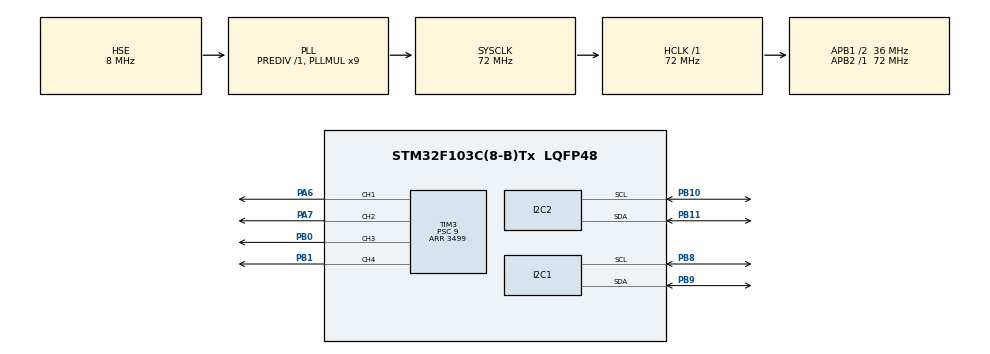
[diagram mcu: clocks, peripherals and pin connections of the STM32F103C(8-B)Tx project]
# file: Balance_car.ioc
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I2C1.I2C_Mode=I2C_Fast
I2C2.I2C_Mode=I2C_Fast
Mcu.Family=STM32F1
Mcu.Name=STM32F103C(8-B)Tx
Mcu.Package=LQFP48
NVIC.PriorityGroup=NVIC_PRIORITYGROUP_4
NVIC.TIM2_IRQn=true\:1\:0\:true\:false\:true\:true\:true\:true
PA13.Mode=Serial_Wire
PA13.Signal=SYS_JTMS-SWDIO
PA14.Mode=Serial_Wire
PA14.Signal=SYS_JTCK-SWCLK
PA6.Signal=S_TIM3_CH1
PA7.Signal=S_TIM3_CH2
PB0.Signal=S_TIM3_CH3
PB1.Signal=S_TIM3_CH4
PB10.Mode=I2C
PB10.Signal=I2C2_SCL
PB11.Mode=I2C
PB11.Signal=I2C2_SDA
PB8.Mode=I2C
PB8.Signal=I2C1_SCL
PB9.Mode=I2C
PB9.Signal=I2C1_SDA
PD0-OSC_IN.Mode=HSE-External-Oscillator
PD0-OSC_IN.Signal=RCC_OSC_IN
PD1-OSC_OUT.Mode=HSE-External-Oscillator
PD1-OSC_OUT.Signal=RCC_OSC_OUT
ProjectManager.HeapSize=0x200
ProjectManager.StackSize=0x400
ProjectManager.TargetToolchain=MDK-ARM V5.32
RCC.AHBFreq_Value=72000000
RCC.APB1CLKDivider=RCC_HCLK_DIV2
RCC.APB1Freq_Value=36000000
RCC.APB1TimFreq_Value=72000000
RCC.APB2Freq_Value=72000000
RCC.APB2TimFreq_Value=72000000
RCC.HCLKFreq_Value=72000000
RCC.PLLMUL=RCC_PLL_MUL9
RCC.PLLSourceVirtual=RCC_PLLSOURCE_HSE
RCC.SYSCLKFreq_VALUE=72000000
RCC.SYSCLKSource=RCC_SYSCLKSOURCE_PLLCLK
RCC.USBFreq_Value=72000000
SH.S_TIM3_CH1.0=TIM3_CH1,PWM Generation1 CH1
SH.S_TIM3_CH2.0=TIM3_CH2,PWM Generation2 CH2
SH.S_TIM3_CH3.0=TIM3_CH3,PWM Generation3 CH3
SH.S_TIM3_CH4.0=TIM3_CH4,PWM Generation4 CH4
TIM2.Period=7199
TIM2.Prescaler=99
TIM3.Channel-PWM\ Generation1\ CH1=TIM_CHANNEL_1
TIM3.Channel-PWM\ Generation2\ CH2=TIM_CHANNEL_2
TIM3.Channel-PWM\ Generation3\ CH3=TIM_CHANNEL_3
TIM3.Channel-PWM\ Generation4\ CH4=TIM_CHANNEL_4
TIM3.Period=3499
TIM3.Prescaler=9
VP_TIM2_VS_ClockSourceINT.Mode=Internal
board=custom

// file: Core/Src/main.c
/* USER CODE BEGIN Header */
/**
  ******************************************************************************
  * @file           : main.c
  * @brief          : Main program body
  ******************************************************************************
  * @attention
  *
  * Copyright (c) 2025 STMicroelectronics.
  * All rights reserved.
  *
  * This software is licensed under terms that can be found in the LICENSE file
  * in the root directory of this software component.
  * If no LICENSE file comes with this software, it is provided AS-IS.
  *
  ******************************************************************************
  */
/* USER CODE END Header */
#include "main.h"
#include "i2c.h"
#include "tim.h"
#include "gpio.h"

/* USER CODE BEGIN Includes */
#include "motor.h"
#include "mpu6050.h"
#include "Balance_fis.h"
#define K_e 0.2f
#define K_e_dot 0.01f
#define K_u 3000
/* USER CODE END Includes */

/* USER CODE BEGIN PD */
float MPU_Offset = 0.0f;
/* USER CODE END PD */

void SystemClock_Config(void);

/* USER CODE BEGIN 0 */

typedef struct {
	float pitch_dot;
	float pitch;
	float input[2];
	float output;
}Balance_t;
enum filter
{
	Kalman,
	CF,
	R,
	L,
	F,
	D
};

enum filter current;

MPU6050_t MPU;
Balance_t Balance;
void MPU_Calibrate_On_Startup(void) {
    double total_angle = 0;

    int samples = 1000;
    for(int i = 0; i < 250; i++) {
        MPU6050_Read_All(&hi2c1, &MPU);
        HAL_Delay(2);
    }
    for(int i = 0; i < samples; i++) {
        MPU6050_Read_All(&hi2c1, &MPU);
        total_angle += MPU.CFAngleY;
        HAL_GPIO_TogglePin(GPIOC, GPIO_PIN_13);
        HAL_Delay(2);
    }
    MPU_Offset = (float)(total_angle / samples);
}
/* USER CODE END 0 */

int main(void)
{

  /* MCU Configuration--------------------------------------------------------*/

  /* Reset of all peripherals, Initializes the Flash interface and the Systick. */
  HAL_Init();

  /* Configure the system clock */
  SystemClock_Config();

  /* Initialize all configured peripherals */
  MX_GPIO_Init();
  MX_TIM3_Init();
  MX_TIM2_Init();
  MX_I2C1_Init();
  MX_I2C2_Init();
  /* USER CODE BEGIN 2 */
	HAL_TIM_PWM_Start(&htim3, TIM_CHANNEL_1);
  HAL_TIM_PWM_Start(&htim3, TIM_CHANNEL_2);
	HAL_TIM_PWM_Start(&htim3, TIM_CHANNEL_3);
  HAL_TIM_PWM_Start(&htim3, TIM_CHANNEL_4);
	Balance_init();
	while(MPU6050_Init(&hi2c1) == 1);
	HAL_Delay(100);
	MPU_Calibrate_On_Startup();
	HAL_TIM_Base_Start_IT(&htim2);
	current = CF;
  /* USER CODE END 2 */

  /* Infinite loop */
  while (1)
  {

  }
}

void SystemClock_Config(void)
{
  RCC_OscInitTypeDef RCC_OscInitStruct = {0};
  RCC_ClkInitTypeDef RCC_ClkInitStruct = {0};

  /** Initializes the RCC Oscillators according to the specified parameters
  * in the RCC_OscInitTypeDef structure.
  */
  RCC_OscInitStruct.OscillatorType = RCC_OSCILLATORTYPE_HSE;
  RCC_OscInitStruct.HSEState = RCC_HSE_ON;
  RCC_OscInitStruct.HSEPredivValue = RCC_HSE_PREDIV_DIV1;
  RCC_OscInitStruct.HSIState = RCC_HSI_ON;
  RCC_OscInitStruct.PLL.PLLState = RCC_PLL_ON;
  RCC_OscInitStruct.PLL.PLLSource = RCC_PLLSOURCE_HSE;
  RCC_OscInitStruct.PLL.PLLMUL = RCC_PLL_MUL9;
  if (HAL_RCC_OscConfig(&RCC_OscInitStruct) != HAL_OK)
  {
    Error_Handler();
  }

  /** Initializes the CPU, AHB and APB buses clocks
  */
  RCC_ClkInitStruct.ClockType = RCC_CLOCKTYPE_HCLK|RCC_CLOCKTYPE_SYSCLK
                              |RCC_CLOCKTYPE_PCLK1|RCC_CLOCKTYPE_PCLK2;
  RCC_ClkInitStruct.SYSCLKSource = RCC_SYSCLKSOURCE_PLLCLK;
  RCC_ClkInitStruct.AHBCLKDivider = RCC_SYSCLK_DIV1;
  RCC_ClkInitStruct.APB1CLKDivider = RCC_HCLK_DIV2;
  RCC_ClkInitStruct.APB2CLKDivider = RCC_HCLK_DIV1;

  if (HAL_RCC_ClockConfig(&RCC_ClkInitStruct, FLASH_LATENCY_2) != HAL_OK)
  {
    Error_Handler();
  }
}

/* USER CODE BEGIN 4 */
void HAL_TIM_PeriodElapsedCallback(TIM_HandleTypeDef *htim)
{

	  if(htim->Instance == htim2.Instance)
	  {

				MPU6050_Read_All(&hi2c1, &MPU);
        // 1. Tнnh toбn giб tr? th?c t?
				float measure_pitch = MPU.CFAngleY - MPU_Offset;
				float measure_pitch_dot = MPU.Gy;

				// 2. Tнnh Sai s? (Error) vа Р?o hаm sai s? (D_Error)
				// Setpoint lа 0 (cвn b?ng)
				// Slide 37: e = r - y [cite: 641]
				float error = 0.0f - measure_pitch;
				float d_error = 0.0f - measure_pitch_dot;

				// 3. Chu?n hуa (Scaling) d? dua vаo b? Fuzzy
				// K_pitch dуng vai trт lа Ke (Slide 34: K1)
				// K_pitch_dot dуng vai trт lа Kde (Slide 34: K2)
				Balance.input[0] = error * K_e;
				Balance.input[1] = d_error * K_e_dot;

				// Gi?i h?n d?u vаo trong kho?ng [-1, 1] d? an toаn cho b? m?
				if (Balance.input[0] > 1.0f) Balance.input[0] = 1.0f;
				else if (Balance.input[0] < -1.0f) Balance.input[0] = -1.0f;

				if (Balance.input[1] > 1.0f) Balance.input[1] = 1.0f;
				else if (Balance.input[1] < -1.0f) Balance.input[1] = -1.0f;

				// 4. Tнnh toбn Fuzzy
				Balance_run(Balance.input, &Balance.output);

				// 5. Ng?t an toаn khi gуc quб l?n
				if (measure_pitch > 45.0f || measure_pitch < -45.0f) {
					 Balance.output = 0;
				}

				// 6. Tнnh PWM d?u ra (Slide 34: Ku)
				// Balance.output t? b? m? thu?ng n?m trong kho?ng [-1, 1]
				int pwm_val = (int)(Balance.output * K_u);

				MotorSetDuty1(pwm_val);
				MotorSetDuty2(pwm_val);
}
}
/* USER CODE END 4 */

void Error_Handler(void)
{
  __disable_irq();
  while (1)
  {
  }
}
